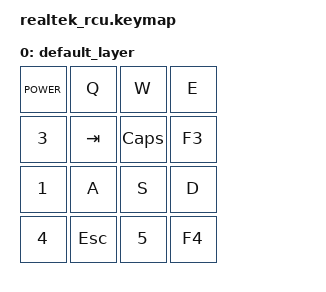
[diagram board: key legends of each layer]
/*
 * Copyright (c) 2023 The ZMK Contributors
 *
 * SPDX-License-Identifier: MIT
 */

#include <behaviors.dtsi>
#include <dt-bindings/zmk/bt.h>
#include <dt-bindings/zmk/keys.h>
#include <dt-bindings/zmk/rgb.h>

#define DEFAULT     0

/ {
    keymap {
        compatible = "zmk,keymap";

        default_layer {
            bindings = <
                &kp K_POWER  &kp Q      &kp W     &kp E 
                &kp N3  &kp TAB    &kp CAPS  &kp F3
                &kp N1  &kp A      &kp S     &kp D 
                &kp N4  &kp ESC    &kp N5    &kp F4    
            >;
        };
    };
};

